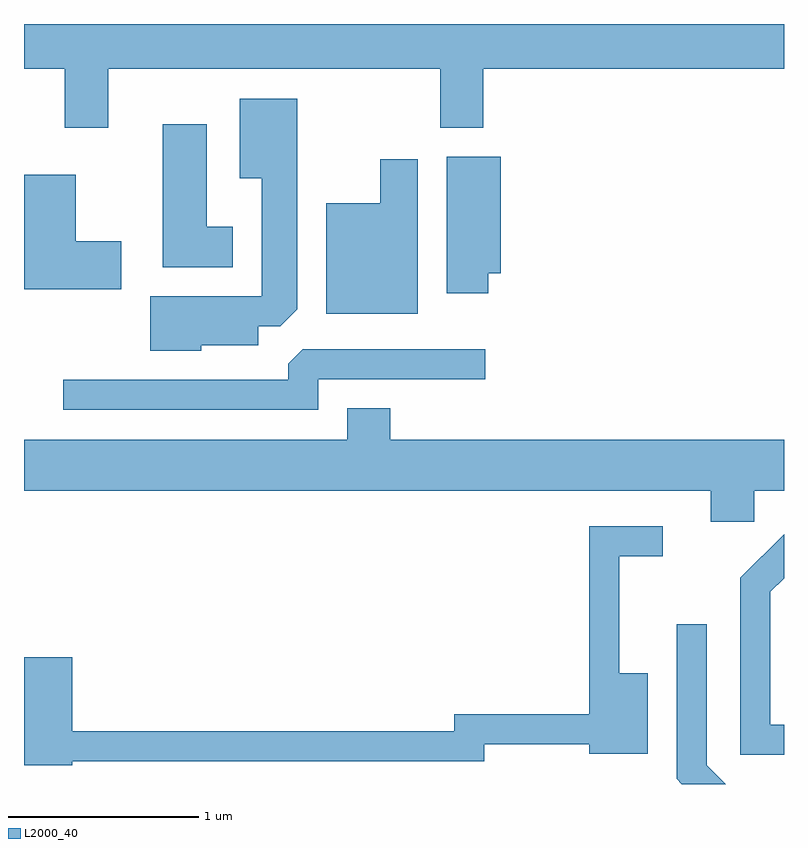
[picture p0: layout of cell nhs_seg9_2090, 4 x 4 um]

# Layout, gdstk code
import gdstk
lib = gdstk.Library(unit=1e-6, precision=1e-09)
def P(c, l, *ps):  # polygons
    for p in ps: c.add(gdstk.Polygon(p, *l))
L2000_40 = (2000, 40)

nhs_seg9_2090 = lib.new_cell('nhs_seg9_2090')
P(nhs_seg9_2090, L2000_40, [(246.054,2056.196),(247.801,2056.196),(247.801,2055.886),(248.029,2055.886),(248.029,2056.196),(249.611,2056.196),(249.611,2056.432),(245.611,2056.432),(245.611,2056.196),(245.826,2056.196),(245.826,2055.886),(246.054,2055.886)],
  [(246.544,2054.741),(246.844,2054.741),(246.844,2054.841),(246.959,2054.841),(247.049,2054.932),(247.049,2056.039),(246.746,2056.039),(246.746,2055.621),(246.861,2055.621),(246.861,2054.999),(246.276,2054.999),(246.276,2054.711),(246.544,2054.711)],
  [(246.709,2055.364),(246.574,2055.364),(246.574,2055.904),(246.341,2055.904),(246.341,2055.151),(246.709,2055.151)],
  [(248.054,2055.121),(248.119,2055.121),(248.119,2055.734),(247.836,2055.734),(247.836,2055.016),(248.054,2055.016)],
  [(247.684,2055.719),(247.486,2055.719),(247.486,2055.489),(247.201,2055.489),(247.201,2054.906),(247.684,2054.906)],
  [(246.124,2055.289),(245.884,2055.289),(245.884,2055.639),(245.611,2055.639),(245.611,2055.036),(246.124,2055.036)],
  [(247.159,2054.561),(248.038,2054.561),(248.038,2054.719),(247.077,2054.719),(247.001,2054.644),(247.001,2054.559),(245.818,2054.559),(245.818,2054.401),(247.159,2054.401)],
  [(249.454,2053.976),(249.611,2053.976),(249.611,2054.244),(247.539,2054.244),(247.539,2054.409),(247.311,2054.409),(247.311,2054.244),(245.611,2054.244),(245.611,2053.976),(249.226,2053.976),(249.226,2053.811),(249.454,2053.811)],
  [(245.864,2052.551),(248.034,2052.551),(248.034,2052.641),(248.586,2052.641),(248.586,2052.591),(248.894,2052.591),(248.894,2053.014),(248.744,2053.014),(248.744,2053.631),(248.973,2053.631),(248.973,2053.789),(248.586,2053.789),(248.586,2052.799),(247.876,2052.799),(247.876,2052.709),(245.864,2052.709),(245.864,2053.099),(245.611,2053.099),(245.611,2052.531),(245.864,2052.531)],
  [(249.611,2052.744),(249.539,2052.744),(249.539,2053.443),(249.611,2053.515),(249.611,2053.746),(249.381,2053.517),(249.381,2052.586),(249.611,2052.586)],
  [(249.204,2052.532),(249.204,2053.273),(249.046,2053.273),(249.046,2052.459),(249.073,2052.432),(249.304,2052.432)])

lib.write_gds('nhs_seg9_2090.gds')
